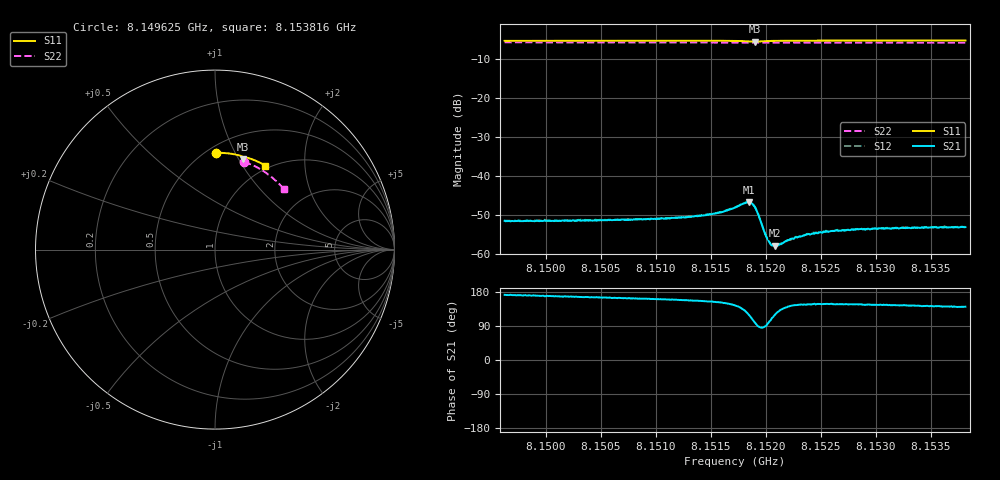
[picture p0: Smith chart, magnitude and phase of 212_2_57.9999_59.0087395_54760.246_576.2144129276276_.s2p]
#  HZ  S  RI  R  50.00
! Rohde & Schwarz Vector Network Analyzer
! Rohde-Schwarz,ZNB20-2Port,1311601062101988,3.16
! Created: UTC 3/21/2024, 12:59:47 AM
! freq[Hz]  re:S11  im:S11  re:S21  im:S21  re:S12  im:S12  re:S22  im:S22
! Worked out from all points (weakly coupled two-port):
!   401 points, 8.149625 GHz to 8.153816 GHz, reference 50 ohm
!   highest |S21| = -46.71 dB at 8.151846 GHz (marker M1); lowest = -57.9 dB at 8.152087 GHz (marker M2)
!   lowest |S11| = -5.6 dB at 8.151899 GHz (marker M3), VSWR 3.23, Z = 37.3 + j52.1 ohm
!   |S11| at or under -10 dB: nowhere
!   |S22| runs from -5.8 to -5.7 dB; largest |S21 - S12| = 0.00012
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8.1496251e9  0.00431 0.5394  -0.00263 0.000372  -0.00263 0.00042  0.1628 0.4896
8.1503271e9  0.0535 0.538  -0.0026 0.000643  -0.00262 0.000682  0.205 0.4726
8.1510292e9  0.1026 0.5318  -0.00268 0.000965  -0.00265 0.001  0.2453 0.4521
8.1512911e9  0.1211 0.5281  -0.00275 0.00113  -0.00275 0.00116  0.2601 0.4436
8.1514588e9  0.1333 0.5253  -0.00284 0.00133  -0.00288 0.00141  0.2692 0.4379
8.151595e9  0.1435 0.522  -0.00301 0.00161  -0.003 0.00169  0.2765 0.4329
8.1517207e9  0.1534 0.5171  -0.00318 0.00231  -0.00318 0.00238  0.283 0.4283
8.1518046e9  0.1591 0.5106  -0.00295 0.00332  -0.00293 0.00341  0.2874 0.4251
8.1518465e9  0.1592 0.5061  -0.00226 0.00403  -0.00226 0.00406  0.2895 0.4232
8.1518779e9  0.1571 0.5038  -0.00133 0.0042  -0.00125 0.00423  0.2909 0.4222
8.1518989e9  0.155 0.5037  -0.000683 0.00399  -0.000627 0.00404  0.2919 0.4214
8.1519303e9  0.1532 0.5059  4.32e-05 0.00325  4.04e-05 0.0033  0.2934 0.4205
8.1520036e9  0.1569 0.5122  1.24e-06 0.00168  -1.22e-05 0.0017  0.2974 0.418
8.1520246e9  0.1588 0.513  -0.00021 0.00147  -0.000183 0.00142  0.2984 0.4173
8.152056e9  0.1618 0.5139  -0.000452 0.0012  -0.000429 0.00125  0.2999 0.416
8.1520875e9  0.1648 0.514  -0.000643 0.0011  -0.000667 0.00112  0.3017 0.4149
8.1521294e9  0.1686 0.5139  -0.000882 0.001  -0.000891 0.00101  0.3039 0.4133
8.1522551e9  0.1787 0.5121  -0.00127 0.000902  -0.00127 0.00095  0.3103 0.4082
8.1524228e9  0.1911 0.5086  -0.00153 0.000984  -0.00156 0.00099  0.3187 0.4016
8.1526219e9  0.2049 0.5039  -0.00166 0.00106  -0.00167 0.00107  0.3284 0.3933
8.1531248e9  0.2376 0.4902  -0.00176 0.00121  -0.00177 0.00126  0.3519 0.3715
8.1538164e9  0.2804 0.4684  -0.00171 0.0014  -0.00171 0.00145  0.3818 0.3393
